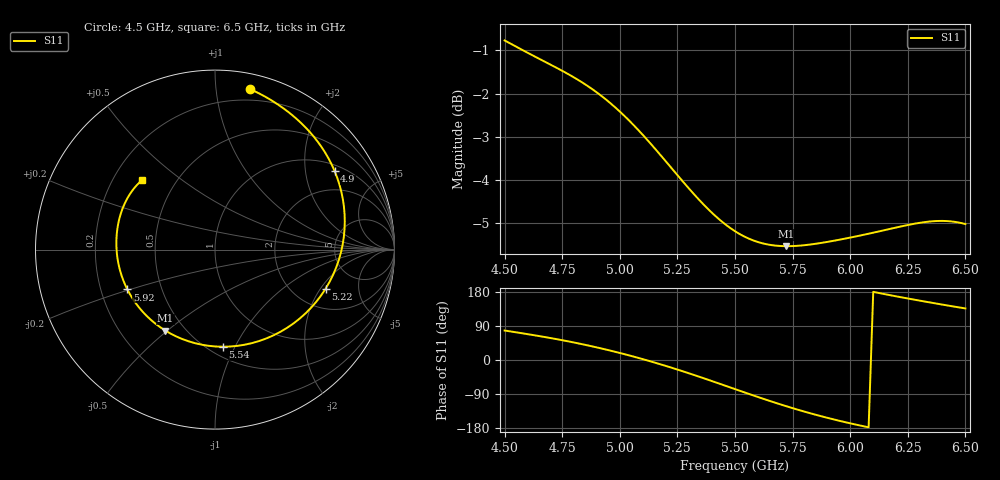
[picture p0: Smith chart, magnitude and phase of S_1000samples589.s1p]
! TOUCHSTONE file generated by CST MICROWAVE STUDIO
! Date and time: Fri Oct 28 17:01:31 2022
! Project name: L.cst
! Parameters = {Di=1.27; Epsilon_r=1.56; InnerDiameter=1.27; Length=2; Lf=10; Lg=60; OuterConductorThickness=0.2921; OuterDiameter=3.6; Wf=3; Wp=41.2; de=1.5; df=6.8; g=0.8; gx=3.72978; gy=2.10857; h=2.34; hf=1.524; px=12.9391; py=11.1449; w=9.7; wx=9.20928; wy=9.03631}
! Header version: 2018
! Port assignment regex: !\s*Touchstone port\s*([0-9]+)\s*=\s*(CST MWS port|CST DS port)\s*([0-9]+|Zmin|Zmax)\s*\(\"(.*)\"\)(\s*mode\s*([0-9]+))?.*
! Touchstone port assignment:
! Touchstone port 1 = CST MWS port 1 ("")
# GHz S DB R 50
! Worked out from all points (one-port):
!   101 points, 4.5 GHz to 6.5 GHz, reference 50 ohm
!   lowest |S11| = -5.5 dB at 5.72 GHz (marker M1), VSWR 3.25, Z = 19.6 - j24.6 ohm
!   |S11| at or under -10 dB: nowhere
!   S11 on the Smith chart (normalised r, x): 4.5 GHz: 0.11, +1.23; 4.9 GHz: 1.21, +2.89; 5.22 GHz: 2.94, -2.24; 5.54 GHz: 0.59, -0.90; 5.92 GHz: 0.31, -0.20; 6.5 GHz: 0.32, +0.37
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4.5  -0.77 77.8
4.64  -1.16 64.2
4.7  -1.33 57.9
4.76  -1.50 51.1
4.82  -1.68 43.8
4.9  -1.97 33.2
4.96  -2.22 24.6
5  -2.41 18.5
5.06  -2.73 8.9
5.12  -3.07 -1.2
5.16  -3.32 -8.3
5.22  -3.69 -19.5
5.26  -3.95 -27.2
5.32  -4.31 -39.1
5.38  -4.65 -51.5
5.44  -4.95 -64.1
5.5  -5.18 -76.8
5.54  -5.30 -85.2
5.62  -5.46 -101.8
5.72  -5.53 -121.5
5.76  -5.52 -128.9
5.84  -5.48 -142.8
5.92  -5.41 -155.5
6  -5.33 -167.1
6.12  -5.19 177.4
6.26  -5.03 161.2
6.38  -4.94 148.3
6.5  -5.02 136.1
